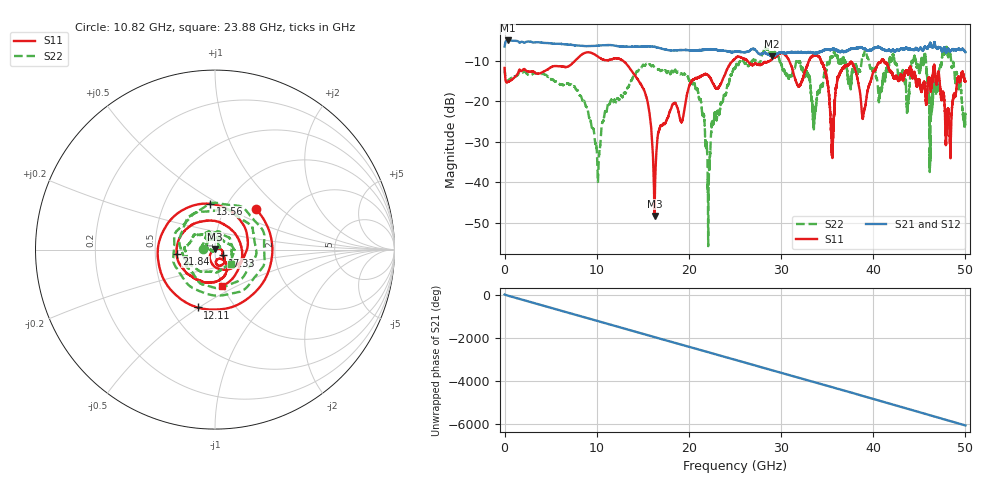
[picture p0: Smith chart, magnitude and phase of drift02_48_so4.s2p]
!Created with skrf (http://scikit-rf.org).
# Hz S RI R 50.0
!freq ReS11 ImS11 ReS21 ImS21 ReS12 ImS12 ReS22 ImS22
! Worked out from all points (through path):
!   10001 points, 300 kHz to 50 GHz, reference 50 ohm
!   highest |S21| = -5.04 dB at 325.3 MHz (marker M1); lowest = -8.9 dB at 28.98 GHz (marker M2)
!   group delay of S21, straight-line fit = 336 ps
!   lowest |S11| = -48.3 dB at 16.27 GHz (marker M3), VSWR 1.01, Z = 49.9 + j0.361 ohm
!   |S11| at or under -10 dB: start of sweep to 7.667 GHz; 12.82 GHz to 24.77 GHz (11.95 GHz wide, 63.6 % of centre); 41.13 GHz to end of sweep (the widest 3 of 12)
!   |S22| runs from -55.8 to -6.6 dB; largest |S21 - S12| = 0.031
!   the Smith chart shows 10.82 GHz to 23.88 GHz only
!   S11 on the Smith chart (normalised r, x): 10.82 GHz: 1.39, +0.70; 12.11 GHz: 0.68, -0.49; 13.56 GHz: 0.83, +0.46; 17.33 GHz: 1.09, -0.07; 21.84 GHz: 0.65, -0.03; 23.88 GHz: 0.99, -0.43
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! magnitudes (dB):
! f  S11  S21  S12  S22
! 300 kHz  -11.8  -6.5  -6.5  -11.7
! 325.3 MHz  -15.3  -5.0  -5.0  -15.1
! 8.335 GHz  -8.6  -6.4  -6.4  -19.1
! 10.1 GHz  -9.0  -6.3  -6.3  -38.4
! 10.82 GHz  -9.9  -6.2  -6.2  -23.6
! 12.11 GHz  -9.5  -6.4  -6.4  -20.3
! 13.56 GHz  -11.8  -6.6  -6.6  -15.8
! 16.27 GHz  -48.3  -6.6  -6.6  -11.7
! 16.67 GHz  -27.8  -6.8  -6.8  -12.2
! 17.33 GHz  -25.5  -7.2  -7.2  -12.7
! 21.84 GHz  -13.3  -7.3  -7.3  -30.2
! 23.88 GHz  -13.6  -7.6  -7.6  -18.4
! 25 GHz  -9.5  -7.8  -7.8  -12.0
! 28.98 GHz  -9.7  -8.9  -8.8  -8.0
! 33.34 GHz  -9.1  -8.0  -8.0  -20.1
! 35.55 GHz  -30.4  -7.2  -7.2  -9.1
! 36.8 GHz  -11.8  -7.8  -7.7  -10.4
! 41.67 GHz  -11.9  -7.3  -7.4  -12.3
! 45.49 GHz  -15.3  -7.1  -7.0  -9.6
! 46.25 GHz  -17.8  -6.1  -6.1  -21.7
! 48.12 GHz  -22.4  -7.2  -7.1  -9.1
! 50 GHz  -15.2  -7.9  -7.8  -23.4
